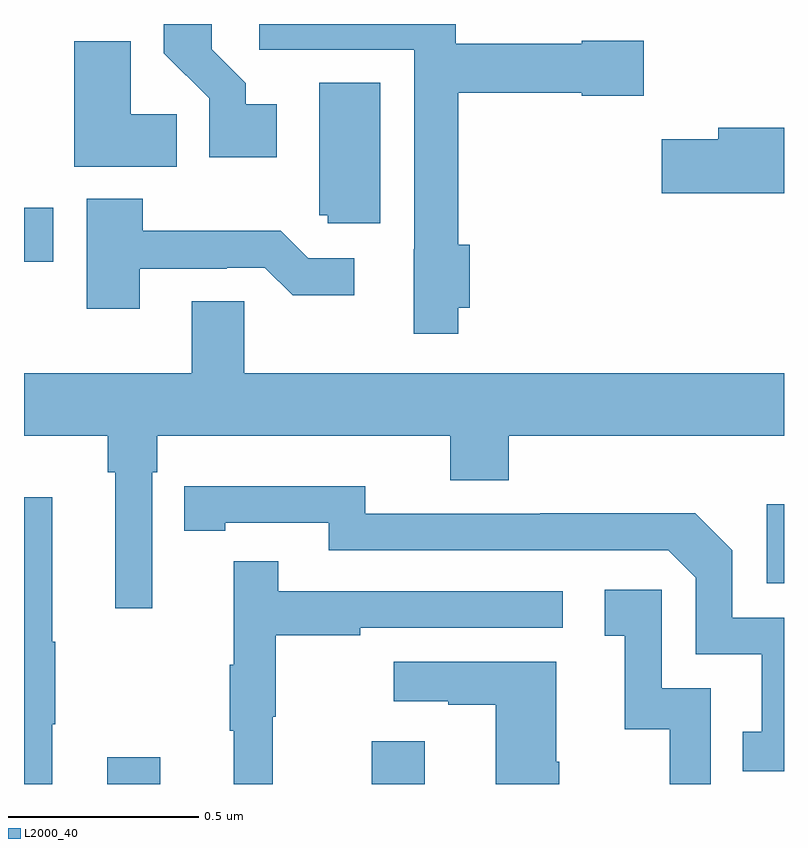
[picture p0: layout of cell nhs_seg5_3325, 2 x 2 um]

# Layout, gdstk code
import gdstk
lib = gdstk.Library(unit=1e-6, precision=1e-09)
def R(c, l, rs):  # rectangles x0, y0, x1, y1
    for r in rs: c.add(gdstk.rectangle(r[:2], r[2:], *l))
def P(c, l, *ps):  # polygons
    for p in ps: c.add(gdstk.Polygon(p, *l))
L2000_40 = (2000, 40)

nhs_seg5_3325 = lib.new_cell('nhs_seg5_3325')
R(nhs_seg5_3325, L2000_40, [(155.219,899.799,155.359,899.869), (155.915,899.799,156.055,899.911), (156.954,900.327,157,900.535), (155,901.174,155.077,901.316)])
P(nhs_seg5_3325, L2000_40, [(156.143,901.052),(156.173,901.052),(156.173,901.218),(156.143,901.218),(156.143,901.618),(156.468,901.618),(156.468,901.61),(156.631,901.61),(156.631,901.755),(156.468,901.755),(156.468,901.747),(156.136,901.747),(156.136,901.799),(155.619,901.799),(155.619,901.731),(156.027,901.731),(156.027,901.206),(156.026,901.206),(156.026,900.984),(156.143,900.984)],
  [(155.665,901.588),(155.584,901.588),(155.584,901.643),(155.494,901.733),(155.494,901.799),(155.368,901.799),(155.368,901.722),(155.487,901.603),(155.487,901.448),(155.665,901.448)],
  [(155.402,901.562),(155.281,901.562),(155.281,901.753),(155.132,901.753),(155.132,901.424),(155.402,901.424)],
  [(155.938,901.645),(155.777,901.645),(155.777,901.296),(155.799,901.296),(155.799,901.275),(155.938,901.275)],
  [(157,901.526),(156.827,901.526),(156.827,901.496),(156.678,901.496),(156.678,901.354),(157,901.354)],
  [(155.305,901.155),(155.534,901.155),(155.534,901.158),(155.634,901.158),(155.707,901.085),(155.869,901.085),(155.869,901.182),(155.748,901.182),(155.675,901.255),(155.313,901.255),(155.313,901.339),(155.165,901.339),(155.165,901.05),(155.305,901.05)],
  [(155.337,900.62),(155.351,900.62),(155.351,900.716),(156.122,900.716),(156.122,900.599),(156.275,900.599),(156.275,900.716),(157,900.716),(157,900.88),(155.58,900.88),(155.58,901.07),(155.441,901.07),(155.441,900.88),(155,900.88),(155,900.716),(155.221,900.716),(155.221,900.62),(155.24,900.62),(155.24,900.261),(155.337,900.261)],
  [(157,900.237),(156.864,900.237),(156.864,900.414),(156.766,900.512),(156.358,900.512),(156.358,900.51),(155.898,900.51),(155.898,900.583),(155.53,900.583),(155.53,900.582),(155.422,900.582),(155.422,900.466),(155.53,900.466),(155.53,900.486),(155.802,900.486),(155.802,900.414),(156.696,900.414),(156.768,900.342),(156.768,900.141),(156.941,900.141),(156.941,899.937),(156.892,899.937),(156.892,899.832),(157,899.832)],
  [(155.074,899.956),(155.082,899.956),(155.082,900.173),(155.074,900.173),(155.074,900.553),(155,900.553),(155,899.799),(155.074,899.799)],
  [(155.654,899.976),(155.662,899.976),(155.662,900.19),(155.885,900.19),(155.885,900.21),(156.418,900.21),(156.418,900.306),(155.669,900.306),(155.669,900.385),(155.552,900.385),(155.552,900.113),(155.541,900.113),(155.541,899.939),(155.552,899.939),(155.552,899.799),(155.654,899.799)],
  [(156.807,900.051),(156.678,900.051),(156.678,900.31),(156.528,900.31),(156.528,900.189),(156.581,900.189),(156.581,899.943),(156.699,899.943),(156.699,899.799),(156.807,899.799)],
  [(156.408,899.857),(156.4,899.857),(156.4,900.121),(155.973,900.121),(155.973,900.017),(156.116,900.017),(156.116,900.007),(156.242,900.007),(156.242,899.799),(156.408,899.799)])

lib.write_gds('nhs_seg5_3325.gds')
